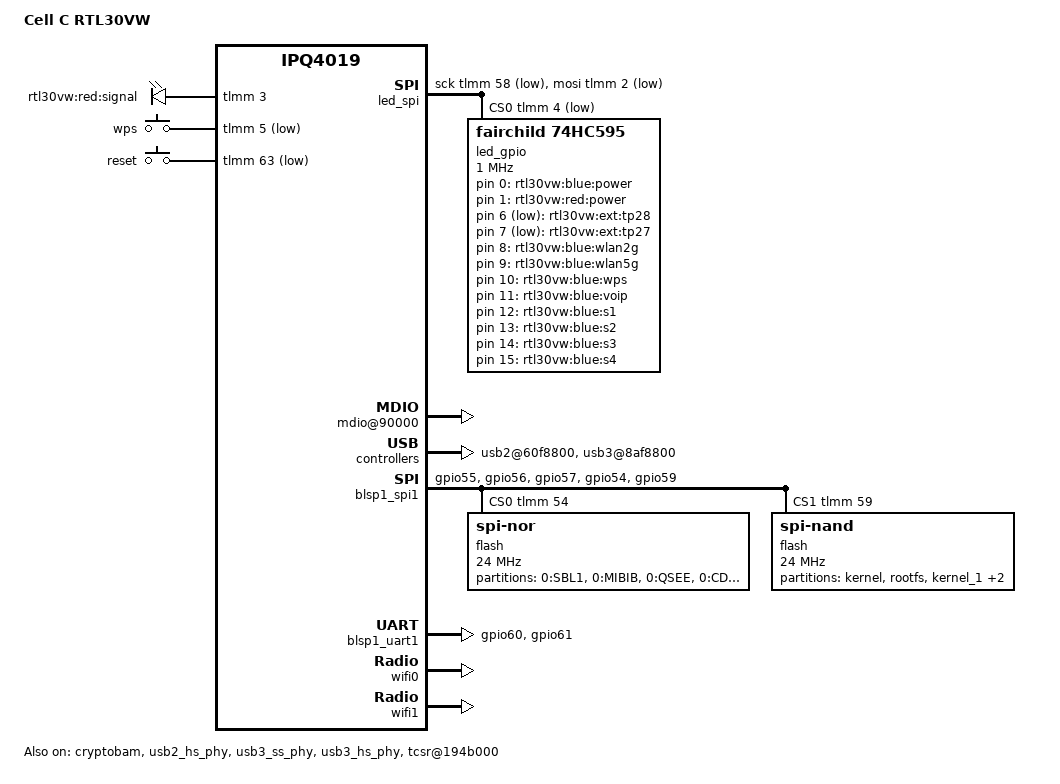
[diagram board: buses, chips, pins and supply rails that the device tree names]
// SPDX-License-Identifier: ISC
// Copyright (c) 2015, The Linux Foundation. All rights reserved.
// Copyright (c) 2019, Cezary Jackiewicz <cezary@eko.one.pl>.
// Copyright (c) 2020, Pawel Dembicki <paweldembicki@gmail.com>.

#include "qcom-ipq4019.dtsi"
#include <dt-bindings/soc/qcom,tcsr.h>
#include <dt-bindings/gpio/gpio.h>
#include <dt-bindings/input/input.h>

/ {
	model = "Cell C RTL30VW";
	compatible = "cellc,rtl30vw";

	aliases {
		led-boot = &led_power_blue;
		led-failsafe = &led_power_red;
		led-running = &led_power_blue;
		led-upgrade = &led_power_red;
	};

	chosen {
		bootargs-append = "ubi.mtd=ubifs root=/dev/ubiblock0_0 rootfstype=squashfs ro";
	};

	led_spi {
		compatible = "spi-gpio";
		#address-cells = <1>;
		#size-cells = <0>;
		num-chipselects = <1>;

		mosi-gpios = <&tlmm 2 GPIO_ACTIVE_LOW>;
		cs-gpios = <&tlmm 4 GPIO_ACTIVE_LOW>;
		sck-gpios = <&tlmm 58 GPIO_ACTIVE_LOW>;

		led_gpio: led_gpio@0 {
			compatible = "fairchild,74hc595";
			reg = <0>;
			gpio-controller;
			#gpio-cells = <2>;
			registers-number = <2>;
			spi-max-frequency = <1000000>;
		};
	};

	leds {
		compatible = "gpio-leds";

		led_power_blue: power_blue {
			gpios = <&led_gpio 0 GPIO_ACTIVE_HIGH>;
			label = "rtl30vw:blue:power";
			default-state = "on";
		};

		led_power_red: power_red {
			gpios = <&led_gpio 1 GPIO_ACTIVE_HIGH>;
			label = "rtl30vw:red:power";
		};

		tp28 {
			gpios = <&led_gpio 6 GPIO_ACTIVE_LOW>;
			label = "rtl30vw:ext:tp28";
			default-state = "keep";
		};

		tp27 {
			gpios = <&led_gpio 7 GPIO_ACTIVE_LOW>;
			label = "rtl30vw:ext:tp27";
			default-state = "keep";
		};

		wlan2g {
			gpios = <&led_gpio 8 GPIO_ACTIVE_HIGH>;
			label = "rtl30vw:blue:wlan2g";
			linux,default-trigger = "phy0tpt";
		};

		wlan5g {
			gpios = <&led_gpio 9 GPIO_ACTIVE_HIGH>;
			label = "rtl30vw:blue:wlan5g";
			linux,default-trigger = "phy1tpt";
		};

		wps {
			gpios = <&led_gpio 10 GPIO_ACTIVE_HIGH>;
			label = "rtl30vw:blue:wps";
		};

		voip {
			gpios = <&led_gpio 11 GPIO_ACTIVE_HIGH>;
			label = "rtl30vw:blue:voip";
		};

		s1 {
			gpios = <&led_gpio 12 GPIO_ACTIVE_HIGH>;
			label = "rtl30vw:blue:s1";
		};

		s2 {
			gpios = <&led_gpio 13 GPIO_ACTIVE_HIGH>;
			label = "rtl30vw:blue:s2";
		};

		s3 {
			gpios = <&led_gpio 14 GPIO_ACTIVE_HIGH>;
			label = "rtl30vw:blue:s3";
		};

		s4 {
			gpios = <&led_gpio 15 GPIO_ACTIVE_HIGH>;
			label = "rtl30vw:blue:s4";
		};

		signal {
			gpios = <&tlmm 3 GPIO_ACTIVE_HIGH>;
			label = "rtl30vw:red:signal";
		};
	};

	keys {
		compatible = "gpio-keys";

		wps {
			label = "wps";
			linux,code = <KEY_WPS_BUTTON>;
			gpios = <&tlmm 5 GPIO_ACTIVE_LOW>;
		};

		reset {
			label = "reset";
			linux,code = <KEY_RESTART>;
			gpios = <&tlmm 63 GPIO_ACTIVE_LOW>;
		};
	};

	soc {
		rng@22000 {
			status = "okay";
		};

		mdio@90000 {
			status = "okay";
		};

		ess-psgmii@98000 {
			status = "okay";
		};

		tcsr@1949000 {
			compatible = "qcom,tcsr";
			reg = <0x1949000 0x100>;
			qcom,wifi_glb_cfg = <TCSR_WIFI_GLB_CFG>;
		};

		tcsr@194b000 {
			/* select hostmode */
			compatible = "qcom,tcsr";
			reg = <0x194b000 0x100>;
			qcom,usb-hsphy-mode-select = <TCSR_USB_HSPHY_HOST_MODE>;
			status = "okay";
		};

		ess_tcsr@1953000 {
			compatible = "qcom,tcsr";
			reg = <0x1953000 0x1000>;
			qcom,ess-interface-select = <TCSR_ESS_PSGMII>;
		};

		tcsr@1957000 {
			compatible = "qcom,tcsr";
			reg = <0x1957000 0x100>;
			qcom,wifi_noc_memtype_m0_m2 = <TCSR_WIFI_NOC_MEMTYPE_M0_M2>;
		};

		usb2@60f8800 {
			status = "okay";
		};

		usb3@8af8800 {
			status = "okay";
		};

		crypto@8e3a000 {
			status = "okay";
		};

		watchdog@b017000 {
			status = "okay";
		};

		ess-switch@c000000 {
			status = "okay";
		};

		edma@c080000 {
			status = "okay";
		};
	};
};

&blsp_dma {
	status = "okay";
};

&blsp1_spi1 {
	pinctrl-0 = <&spi_0_pins>;
	pinctrl-names = "default";
	status = "okay";
	cs-gpios = <&tlmm 54 GPIO_ACTIVE_HIGH>, <&tlmm 59 GPIO_ACTIVE_HIGH>;

	flash@0 {
		/*"n25q128a11" is required for proper nand recognition in u-boot. */
		compatible = "jedec,spi-nor", "n25q128a11";
		#address-cells = <1>;
		#size-cells = <1>;
		reg = <0>;
		spi-max-frequency = <24000000>;

		partitions {
			compatible = "fixed-partitions";
			#address-cells = <1>;
			#size-cells = <1>;

			partition@0 {
				label = "0:SBL1";
				reg = <0x0 0x40000>;
				read-only;
			};

			partition@40000 {
				label = "0:MIBIB";
				reg = <0x40000 0x20000>;
				read-only;
			};

			partition@60000 {
				label = "0:QSEE";
				reg = <0x60000 0x60000>;
				read-only;
				};

			partition@c0000 {
				label = "0:CDT";
				reg = <0xc0000 0x10000>;
				read-only;
			};

			partition@d0000 {
				label = "0:DDRPARAMS";
				reg = <0xd0000 0x10000>;
				read-only;
			};

			partition@e0000 {
				label = "0:APPSBLENV";
				reg = <0xe0000 0x10000>;
				read-only;
			};

			partition@f0000 {
				label = "0:APPSBL";
				reg = <0xf0000 0x80000>;
				read-only;
			};

			partition@170000 {
				label = "0:ART";
				reg = <0x170000 0x10000>;
				read-only;
			};

			partition@180000 {
				label = "0:BOOTCONFIG";
				reg = <0x180000 0x10000>;
				read-only;
			};
		};
	};

	flash@1 {
		/*
		 * Factory U-boot looks in 0:BOOTCONFIG partition for active
		 * partitions settings and mangle partition config. So kernel
		 * /kernel_1 and rootfs/rootfs_1 pairs can be swaped.
		 * It isn't a problem but we never can be sure where OFW put
		 * factory images. "spinand,mt29f" value is required for proper
		 * nand recognition in u-boot.
		 */
		compatible = "spi-nand","spinand,mt29f";
		#address-cells = <1>;
		#size-cells = <0>;
		reg = <1>;
		spi-max-frequency = <24000000>;

		partitions {
			compatible = "fixed-partitions";
			#address-cells = <1>;
			#size-cells = <1>;

			partition@0 {
				label = "kernel";
				reg = <0x0 0x400000>;
			};

			partition@400000 {
				label = "rootfs";
				reg = <0x400000 0x2000000>;
			};

			partition@2400000 {
				label = "kernel_1";
				reg = <0x2400000 0x400000>;
			};

			partition@2800000 {
				label = "rootfs_1";
				reg = <0x2800000 0x2000000>;
			};

			partition@4800000 {
				label = "ubifs";
				reg = <0x4800000 0x3800000>;
			};
		};
	};
};

&blsp1_uart1 {
	pinctrl-0 = <&serial_pins>;
	pinctrl-names = "default";
	status = "okay";
};

&cryptobam {
	status = "okay";
};

&tlmm {
	serial_pins: serial_pinmux {
		mux {
			pins = "gpio60", "gpio61";
			function = "blsp_uart0";
			bias-disable;
		};
	};

	spi_0_pins: spi_0_pinmux {
		pinmux {
			function = "blsp_spi0";
			pins = "gpio55", "gpio56", "gpio57";
			drive-strength = <12>;
			bias-disable;
		};

		pinmux_cs {
			function = "gpio";
			pins = "gpio54", "gpio59";
			drive-strength = <2>;
			bias-disable;
			output-high;
		};
	};
};

&usb2_hs_phy {
	status = "okay";
};

&usb3_ss_phy {
	status = "okay";
};

&usb3_hs_phy {
	status = "okay";
};

&wifi0 {
	status = "okay";
	qcom,ath10k-calibration-variant = "cellc,rtl30vw";
};

&wifi1 {
	status = "okay";
	qcom,ath10k-calibration-variant = "cellc,rtl30vw";
};
